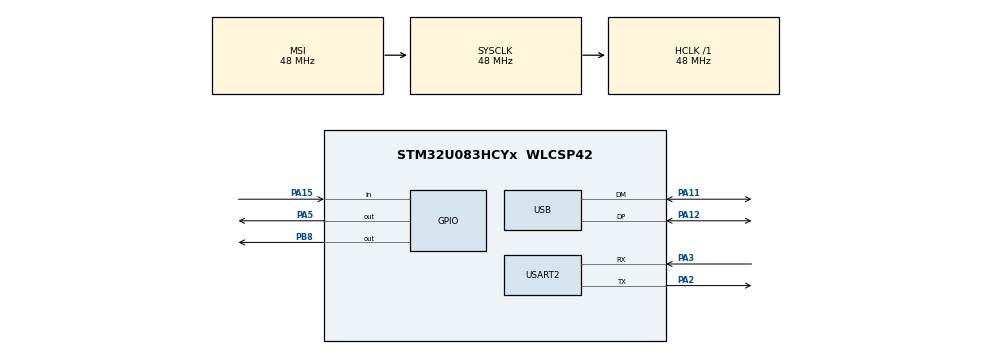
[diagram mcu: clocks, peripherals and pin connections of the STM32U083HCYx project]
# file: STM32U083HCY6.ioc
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Mcu.Family=STM32U0
Mcu.Name=STM32U083HCYx
Mcu.Package=WLCSP42
NVIC.PriorityGroup=NVIC_PRIORITYGROUP_2
NVIC.USB_DRD_FS_IRQn=true\:0\:0\:false\:false\:true\:true\:true\:true
PA11\ [PA9].Mode=Device
PA11\ [PA9].Signal=USB_DM
PA12\ [PA10].Mode=Device
PA12\ [PA10].Signal=USB_DP
PA15.GPIO_PuPd=GPIO_PULLDOWN
PA15.Signal=GPIO_Input
PA2.Mode=Asynchronous
PA2.Signal=USART2_TX
PA3.Mode=Asynchronous
PA3.Signal=USART2_RX
PA5.Signal=GPIO_Output
PB8.Signal=GPIO_Output
ProjectManager.HeapSize=0x200
ProjectManager.StackSize=0x400
ProjectManager.TargetToolchain=STM32CubeIDE
RCC.ADCFreq_Value=48000000
RCC.AHBFreq_Value=48000000
RCC.CortexFreq_Value=48000000
RCC.HCLKFreq_Value=48000000
RCC.HSE_VALUE=4000000
RCC.HSI48_VALUE=48000000
RCC.HSI_VALUE=16000000
RCC.LSE_VALUE=32768
RCC.MSIClockRangeVal=RCC_MSIRANGE_11
RCC.MSI_VALUE=48000000
RCC.SYSCLKFreq_VALUE=48000000
RCC.SYSCLKSource=RCC_SYSCLKSOURCE_MSI
RCC.USBCLockSelection=RCC_USBCLKSOURCE_HSI48
RCC.USBFreq_Value=48000000
RCC.VCOOutputFreq_Value=64000000
USART2.VirtualMode-Asynchronous=VM_ASYNC
USB.VirtualMode=Device_Only
USBX.Core_System=1
USBX.REG_USBX_DEVICE_CON_CK=0
USBX.USBD_PID=0x5678
USBX.USBD_PRODUCT_STRING=Wedy USB Device
USBX.USBD_VID=0x1234
USBX.USBX_DEVICE_SYS_SIZE=3*1024
USBX.UX_DEVICE_APP_MEM_POOL_SIZE_STANDALONE=3*1024
USBX.UX_DEVICE_HID_CORE=1
USBX.UX_DEVICE_HID_KEYBOARD=1
USBX.UX_Device_Controller=1
USBX.UX_Device_CoreStack=1
USBX.UX_SLAVE_REQUEST_DATA_MAX_LENGTH=256
VP_PWR_VS_SECSignals.Mode=Security/Privilege
VP_RCC_USB.Mode=CRS SYNC Source USB
VP_USBX_Core_System.Mode=Core_System
VP_USBX_UX\ Device\ Controller_FS.Mode=UX_Device_Controller_FS
VP_USBX_UX\ Device\ CoreStack_FS.Mode=UX_Device_CoreStack_FS
VP_USBX_UX\ Device\ HID_CORE_FS.Mode=UX_Device_class_HID_CORE_FS
VP_USBX_UX\ Device\ HID_KEYBOARD_FS.Mode=UX_Device_class_HID_KEYBOARD_FS
board=custom

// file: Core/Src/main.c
/* USER CODE BEGIN Header */
/**
  ******************************************************************************
  * @file           : main.c
  * @brief          : Main program body
  ******************************************************************************
  * @attention
  *
  * Copyright (c) 2025 STMicroelectronics.
  * All rights reserved.
  *
  * This software is licensed under terms that can be found in the LICENSE file
  * in the root directory of this software component.
  * If no LICENSE file comes with this software, it is provided AS-IS.
  *
  ******************************************************************************
  */
/* USER CODE END Header */
#include "main.h"
#include "app_usbx_device.h"

/* USER CODE BEGIN Includes */
#include "stdio.h" // add for print the log via UART
/* USER CODE END Includes */

UART_HandleTypeDef huart2;

PCD_HandleTypeDef hpcd_USB_DRD_FS;

void SystemClock_Config(void);
static void MX_GPIO_Init(void);
static void MX_USART2_UART_Init(void);
/* USER CODE BEGIN PFP */
static void CheckPA15State(void);
/* USER CODE END PFP */

/* USER CODE BEGIN 0 */
// Add this function for UART printf redirection
int _write(int file, char *ptr, int len)
{
    HAL_UART_Transmit(&huart2, (uint8_t *)ptr, len, HAL_MAX_DELAY);
    return len;
}
/* USER CODE END 0 */

int main(void)
{

  /* MCU Configuration--------------------------------------------------------*/

  /* Reset of all peripherals, Initializes the Flash interface and the Systick. */
  HAL_Init();

  /* Configure the system clock */
  SystemClock_Config();

  /* Initialize all configured peripherals */
  MX_GPIO_Init();
  MX_USBX_Device_Init();
  MX_USART2_UART_Init();
  /* USER CODE BEGIN 2 */
  printf("Welcome to Wedy world !\n\r");
  /* USER CODE END 2 */

  /* Infinite loop */
  while (1)
  {

    /* USER CODE BEGIN 3 */
	 //Set up the device descriptor
	 USBX_Device_Process(NULL);
	 CheckPA15State();
  }
  /* USER CODE END 3 */
}

void SystemClock_Config(void)
{
  RCC_OscInitTypeDef RCC_OscInitStruct = {0};
  RCC_ClkInitTypeDef RCC_ClkInitStruct = {0};
  RCC_CRSInitTypeDef RCC_CRSInitStruct = {0};

  /** Configure the main internal regulator output voltage
  */
  HAL_PWREx_ControlVoltageScaling(PWR_REGULATOR_VOLTAGE_SCALE1);

  /** Initializes the RCC Oscillators according to the specified parameters
  * in the RCC_OscInitTypeDef structure.
  */
  RCC_OscInitStruct.OscillatorType = RCC_OSCILLATORTYPE_HSI48|RCC_OSCILLATORTYPE_MSI;
  RCC_OscInitStruct.MSIState = RCC_MSI_ON;
  RCC_OscInitStruct.MSICalibrationValue = RCC_MSICALIBRATION_DEFAULT;
  RCC_OscInitStruct.MSIClockRange = RCC_MSIRANGE_11;
  RCC_OscInitStruct.HSI48State = RCC_HSI48_ON;
  RCC_OscInitStruct.PLL.PLLState = RCC_PLL_NONE;
  if (HAL_RCC_OscConfig(&RCC_OscInitStruct) != HAL_OK)
  {
    Error_Handler();
  }

  /** Initializes the CPU, AHB and APB buses clocks
  */
  RCC_ClkInitStruct.ClockType = RCC_CLOCKTYPE_HCLK|RCC_CLOCKTYPE_SYSCLK
                              |RCC_CLOCKTYPE_PCLK1;
  RCC_ClkInitStruct.SYSCLKSource = RCC_SYSCLKSOURCE_MSI;
  RCC_ClkInitStruct.AHBCLKDivider = RCC_SYSCLK_DIV1;
  RCC_ClkInitStruct.APB1CLKDivider = RCC_HCLK_DIV1;

  if (HAL_RCC_ClockConfig(&RCC_ClkInitStruct, FLASH_LATENCY_1) != HAL_OK)
  {
    Error_Handler();
  }

  /** Enable the CRS clock
  */
  __HAL_RCC_CRS_CLK_ENABLE();

  /** Configures CRS
  */
  RCC_CRSInitStruct.Prescaler = RCC_CRS_SYNC_DIV1;
  RCC_CRSInitStruct.Source = RCC_CRS_SYNC_SOURCE_USB;
  RCC_CRSInitStruct.Polarity = RCC_CRS_SYNC_POLARITY_RISING;
  RCC_CRSInitStruct.ReloadValue = __HAL_RCC_CRS_RELOADVALUE_CALCULATE(48000000,1000);
  RCC_CRSInitStruct.ErrorLimitValue = 34;
  RCC_CRSInitStruct.HSI48CalibrationValue = 32;

  HAL_RCCEx_CRSConfig(&RCC_CRSInitStruct);
}

static void MX_USART2_UART_Init(void)
{

  huart2.Instance = USART2;
  huart2.Init.BaudRate = 115200;
  huart2.Init.WordLength = UART_WORDLENGTH_8B;
  huart2.Init.StopBits = UART_STOPBITS_1;
  huart2.Init.Parity = UART_PARITY_NONE;
  huart2.Init.Mode = UART_MODE_TX_RX;
  huart2.Init.HwFlowCtl = UART_HWCONTROL_NONE;
  huart2.Init.OverSampling = UART_OVERSAMPLING_16;
  huart2.Init.OneBitSampling = UART_ONE_BIT_SAMPLE_DISABLE;
  huart2.Init.ClockPrescaler = UART_PRESCALER_DIV1;
  huart2.AdvancedInit.AdvFeatureInit = UART_ADVFEATURE_NO_INIT;
  if (HAL_UART_Init(&huart2) != HAL_OK)
  {
    Error_Handler();
  }
  if (HAL_UARTEx_SetTxFifoThreshold(&huart2, UART_TXFIFO_THRESHOLD_1_8) != HAL_OK)
  {
    Error_Handler();
  }
  if (HAL_UARTEx_SetRxFifoThreshold(&huart2, UART_RXFIFO_THRESHOLD_1_8) != HAL_OK)
  {
    Error_Handler();
  }
  if (HAL_UARTEx_DisableFifoMode(&huart2) != HAL_OK)
  {
    Error_Handler();
  }

}

void MX_USB_PCD_Init(void)
{

  hpcd_USB_DRD_FS.Instance = USB_DRD_FS;
  hpcd_USB_DRD_FS.Init.dev_endpoints = 8;
  hpcd_USB_DRD_FS.Init.speed = USBD_FS_SPEED;
  hpcd_USB_DRD_FS.Init.phy_itface = PCD_PHY_EMBEDDED;
  hpcd_USB_DRD_FS.Init.Sof_enable = DISABLE;
  hpcd_USB_DRD_FS.Init.low_power_enable = DISABLE;
  hpcd_USB_DRD_FS.Init.lpm_enable = DISABLE;
  hpcd_USB_DRD_FS.Init.battery_charging_enable = DISABLE;
  if (HAL_PCD_Init(&hpcd_USB_DRD_FS) != HAL_OK)
  {
    Error_Handler();
  }

}

static void MX_GPIO_Init(void)
{
  GPIO_InitTypeDef GPIO_InitStruct = {0};

  /* GPIO Ports Clock Enable */
  __HAL_RCC_GPIOA_CLK_ENABLE();
  __HAL_RCC_GPIOB_CLK_ENABLE();

  /*Configure GPIO pin Output Level */
  HAL_GPIO_WritePin(GPIOB, GPIO_PIN_8, GPIO_PIN_RESET);

  /*Configure GPIO pin Output Level */
  HAL_GPIO_WritePin(GPIOA, GPIO_PIN_5, GPIO_PIN_RESET);

  /*Configure GPIO pin : PA15 */
  GPIO_InitStruct.Pin = GPIO_PIN_15;
  GPIO_InitStruct.Mode = GPIO_MODE_INPUT;
  GPIO_InitStruct.Pull = GPIO_PULLDOWN;
  HAL_GPIO_Init(GPIOA, &GPIO_InitStruct);

  /*Configure GPIO pin : PB8 */
  GPIO_InitStruct.Pin = GPIO_PIN_8;
  GPIO_InitStruct.Mode = GPIO_MODE_OUTPUT_PP;
  GPIO_InitStruct.Pull = GPIO_NOPULL;
  GPIO_InitStruct.Speed = GPIO_SPEED_FREQ_LOW;
  HAL_GPIO_Init(GPIOB, &GPIO_InitStruct);

  /*Configure GPIO pin : PA5 */
  GPIO_InitStruct.Pin = GPIO_PIN_5;
  GPIO_InitStruct.Mode = GPIO_MODE_OUTPUT_PP;
  GPIO_InitStruct.Pull = GPIO_NOPULL;
  GPIO_InitStruct.Speed = GPIO_SPEED_FREQ_LOW;
  HAL_GPIO_Init(GPIOA, &GPIO_InitStruct);

  /* USER CODE BEGIN MX_GPIO_Init_2 */
  /*Configure GPIO pin : USER_BUTTON_Pin */
  __HAL_RCC_GPIOC_CLK_ENABLE();
    GPIO_InitStruct.Pin = GPIO_PIN_2;
    GPIO_InitStruct.Mode = GPIO_MODE_INPUT;
    GPIO_InitStruct.Pull = GPIO_PULLDOWN;
    HAL_GPIO_Init(GPIOC, &GPIO_InitStruct);
  /* USER CODE END MX_GPIO_Init_2 */
}

/* USER CODE BEGIN 4 */
static void CheckPA15State(void)
{
  // Read the state of PA15
  GPIO_PinState pa15_state = HAL_GPIO_ReadPin(GPIOA, GPIO_PIN_15);
  GPIO_PinState pa12_state = HAL_GPIO_ReadPin(GPIOC, GPIO_PIN_2);

  if(pa15_state == GPIO_PIN_SET||pa12_state == GPIO_PIN_SET)
  {
    // PA15 is high - PB8 is high
    // Add your code here for when PB8 is high
	HAL_GPIO_WritePin(GPIOB, GPIO_PIN_8,GPIO_PIN_SET);
	HAL_GPIO_WritePin(GPIOA, GPIO_PIN_5,GPIO_PIN_SET);
  }
  else
  {
    // PA15 is low - PB8 is low
    // Add your code here for when PB8 is low
	HAL_GPIO_WritePin(GPIOB, GPIO_PIN_8, GPIO_PIN_RESET);
	HAL_GPIO_WritePin(GPIOA, GPIO_PIN_5, GPIO_PIN_RESET);
  }
}
/* USER CODE END 4 */

void Error_Handler(void)
{
  __disable_irq();
  while (1)
  {
  }
}
